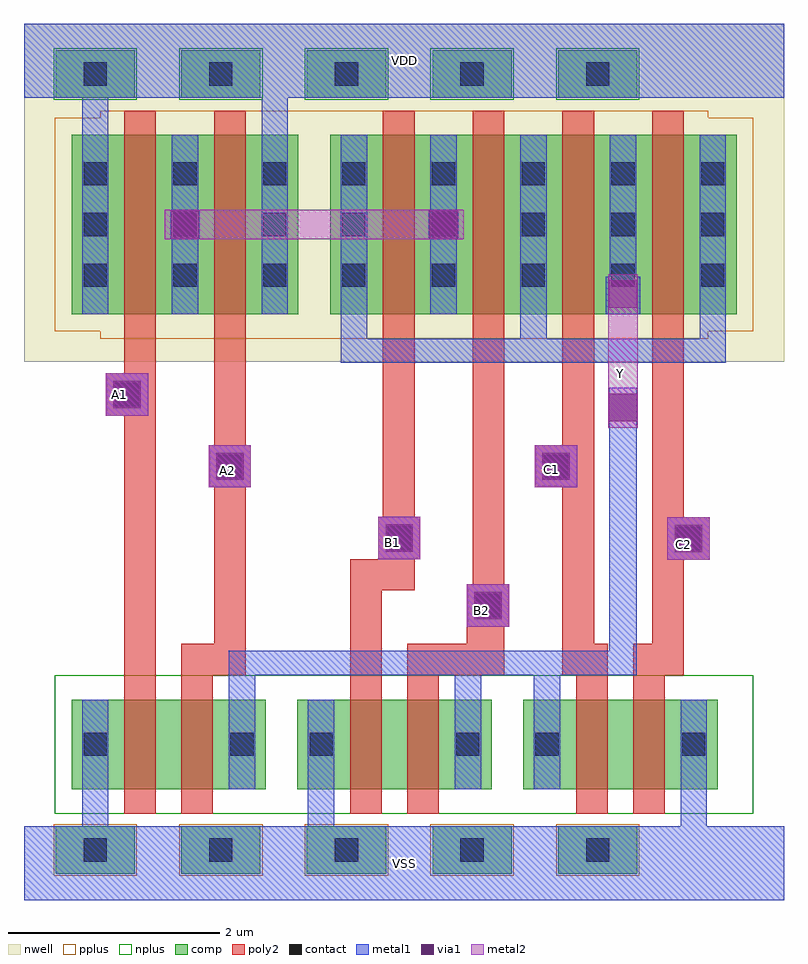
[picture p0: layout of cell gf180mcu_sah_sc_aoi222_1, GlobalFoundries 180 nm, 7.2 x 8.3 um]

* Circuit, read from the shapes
.subckt gf180mcu_sah_sc_aoi222_1 A1 A2 B1 B2 C1 C2 VDD VSS Y
XM1 n1 A1 VSS VSS nfet_03v3 w=0.85u l=0.3u
XM2 Y A2 n1 VSS nfet_03v3 w=0.85u l=0.3u
XM3 n2 B1 VSS VSS nfet_03v3 w=0.85u l=0.3u
XM4 Y B2 n2 VSS nfet_03v3 w=0.85u l=0.3u
XM5 n3 C1 Y VSS nfet_03v3 w=0.85u l=0.3u
XM6 VSS C2 n3 VSS nfet_03v3 w=0.85u l=0.3u
XM7 n4 A1 VDD VDD pfet_03v3 w=1.7u l=0.3u
XM8 VDD A2 n4 VDD pfet_03v3 w=1.7u l=0.3u
XM9 n4 B1 n5 VDD pfet_03v3 w=1.7u l=0.3u
XM10 n5 B2 n4 VDD pfet_03v3 w=1.7u l=0.3u
XM11 Y C1 n5 VDD pfet_03v3 w=1.7u l=0.3u
XM12 n5 C2 Y VDD pfet_03v3 w=1.7u l=0.3u
.ends

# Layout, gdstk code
import gdstk
lib = gdstk.Library(unit=1e-6, precision=5e-09)
def R(c, l, rs):  # rectangles x0, y0, x1, y1
    for r in rs: c.add(gdstk.rectangle(r[:2], r[2:], *l))
def A(c, l, x, y, w, h, nx, ny, dx, dy):  # array of equal rectangles
    R(c, l, [(x+i*dx, y+j*dy, x+i*dx+w, y+j*dy+h) for i in range(nx) for j in range(ny)])
nwell = (21, 0)
comp = (22, 0)
poly2 = (30, 0)
pplus = (31, 0)
nplus = (32, 0)
contact = (33, 0)
metal1 = (34, 0)
via1 = (35, 0)
metal2 = (36, 0)

gf180mcu_sah_sc_aoi222_1 = lib.new_cell('gf180mcu_sah_sc_aoi222_1')
R(gf180mcu_sah_sc_aoi222_1, nwell, [(-17.59,7.34,-10.39,10.54)])
A(gf180mcu_sah_sc_aoi222_1, comp, -17.29, 2.49, 0.75, 0.45, 5, 2, 1.19, 7.35)
A(gf180mcu_sah_sc_aoi222_1, comp, -17.14, 3.29, 1.84, 0.85, 3, 1, 2.14, 0)
R(gf180mcu_sah_sc_aoi222_1, comp, [(-17.14,7.79,-14.99,9.49), (-14.69,7.79,-10.84,9.49)])
A(gf180mcu_sah_sc_aoi222_1, poly2, -13.34, 4.37, 0.3, 3.19, 3, 1, 0.85, 0)
A(gf180mcu_sah_sc_aoi222_1, poly2, -14.19, 7.56, 0.3, 2.16, 4, 1, 0.85, 0)
R(gf180mcu_sah_sc_aoi222_1, poly2, [(-16.64,3.06,-16.34,4.37), (-16.1,3.06,-15.8,4.37), (-14.5,3.06,-14.2,4.37), (-13.96,3.06,-13.66,4.37), (-12.36,3.06,-12.06,4.37), (-11.82,3.06,-11.52,4.37), (-16.64,4.37,-16.34,7.56), (-16.1,4.37,-15.79,4.67), (-15.79,4.37,-15.49,7.56), (-14.5,4.37,-14.2,5.47), (-13.96,4.37,-13.34,4.67), (-12.19,4.37,-12.06,4.67), (-11.82,4.37,-11.64,4.67), (-13.395,4.67,-13.34,4.83), (-13.395,4.83,-12.995,5.23), (-14.2,5.175,-14.19,5.47), (-14.19,5.175,-13.89,7.56), (-11.495,5.465,-11.095,5.865), (-14.235,5.47,-13.835,5.87), (-15.84,6.15,-15.44,6.55), (-12.75,6.15,-12.35,6.55), (-16.815,6.83,-16.415,7.23), (-16.64,7.56,-16.34,9.72), (-15.79,7.56,-15.49,9.72)])
A(gf180mcu_sah_sc_aoi222_1, pplus, -17.31, 2.47, 0.79, 0.49, 5, 1, 1.19, 0)
R(gf180mcu_sah_sc_aoi222_1, pplus, [(-16.87,7.56,-11.11,7.63), (-17.3,7.63,-10.68,9.65), (-16.87,9.65,-11.11,9.72)])
A(gf180mcu_sah_sc_aoi222_1, nplus, -17.31, 9.82, 0.79, 0.49, 5, 1, 1.19, 0)
R(gf180mcu_sah_sc_aoi222_1, nplus, [(-17.3,3.06,-10.68,4.37)])
A(gf180mcu_sah_sc_aoi222_1, contact, -17.025, 2.605, 0.22, 0.22, 5, 2, 1.19, 7.35)
A(gf180mcu_sah_sc_aoi222_1, contact, -17.025, 8.05, 0.22, 0.22, 3, 3, 0.85, 0.48)
A(gf180mcu_sah_sc_aoi222_1, contact, -14.575, 8.05, 0.22, 0.22, 5, 3, 0.85, 0.48)
R(gf180mcu_sah_sc_aoi222_1, contact, [(-17.025,3.605,-16.805,3.825), (-15.635,3.605,-15.415,3.825), (-14.885,3.605,-14.665,3.825), (-13.495,3.605,-13.275,3.825), (-12.745,3.605,-12.525,3.825), (-11.355,3.605,-11.135,3.825), (-13.305,4.92,-13.085,5.14), (-11.405,5.555,-11.185,5.775), (-14.145,5.56,-13.925,5.78), (-15.75,6.24,-15.53,6.46), (-12.66,6.24,-12.44,6.46), (-16.725,6.92,-16.505,7.14)])
A(gf180mcu_sah_sc_aoi222_1, metal1, -14.59, 7.56, 0.25, 0.23, 3, 1, 1.7, 0)
A(gf180mcu_sah_sc_aoi222_1, metal1, -17.04, 7.79, 0.25, 1.7, 3, 1, 0.85, 0)
A(gf180mcu_sah_sc_aoi222_1, metal1, -14.59, 7.79, 0.25, 1.7, 5, 1, 0.85, 0)
R(gf180mcu_sah_sc_aoi222_1, metal1, [(-17.59,2.24,-10.39,2.94), (-17.04,2.94,-16.79,3.29), (-14.9,2.94,-14.65,3.29), (-11.37,2.94,-11.12,3.29), (-17.04,3.29,-16.79,4.14), (-15.65,3.29,-15.4,4.14), (-14.9,3.29,-14.65,4.14), (-13.51,3.29,-13.26,4.14), (-12.76,3.29,-12.51,4.14), (-11.37,3.29,-11.12,4.14), (-15.65,4.14,-15.4,4.37), (-13.51,4.14,-13.26,4.37), (-12.76,4.14,-12.51,4.37), (-15.65,4.37,-12.045,4.6), (-12.045,4.37,-11.785,7.095), (-13.395,4.83,-12.995,5.23), (-11.495,5.465,-11.095,5.865), (-14.235,5.47,-13.835,5.87), (-15.84,6.15,-15.44,6.55), (-12.75,6.15,-12.35,6.55), (-16.815,6.83,-16.415,7.23), (-14.59,7.33,-10.94,7.56), (-12.08,7.79,-11.75,8.145), (-16.205,8.5,-15.925,8.78), (-13.755,8.5,-13.475,8.78), (-17.04,9.49,-16.79,9.84), (-15.34,9.49,-15.09,9.84), (-17.59,9.84,-10.39,10.54)])
R(gf180mcu_sah_sc_aoi222_1, via1, [(-13.325,4.9,-13.065,5.16), (-11.425,5.535,-11.165,5.795), (-14.165,5.54,-13.905,5.8), (-15.77,6.22,-15.51,6.48), (-12.68,6.22,-12.42,6.48), (-12.045,6.775,-11.785,7.035), (-16.745,6.9,-16.485,7.16), (-12.045,7.85,-11.785,8.11), (-16.195,8.51,-15.935,8.77), (-13.745,8.51,-13.485,8.77)])
R(gf180mcu_sah_sc_aoi222_1, metal2, [(-13.395,4.83,-12.995,5.23), (-11.495,5.465,-11.095,5.865), (-14.235,5.47,-13.835,5.87), (-15.84,6.15,-15.44,6.55), (-12.75,6.15,-12.35,6.55), (-12.055,6.715,-11.775,8.17), (-16.815,6.83,-16.415,7.23), (-16.255,8.5,-13.425,8.78)])
gf180mcu_sah_sc_aoi222_1.add(gdstk.Label('VSS', (-13.99,2.59), layer=34, texttype=10))
gf180mcu_sah_sc_aoi222_1.add(gdstk.Label('VDD', (-13.99,10.19), layer=34, texttype=10))
gf180mcu_sah_sc_aoi222_1.add(gdstk.Label('Y', (-11.94,7.23), layer=36, texttype=10))
gf180mcu_sah_sc_aoi222_1.add(gdstk.Label('A1', (-16.685,7.025), layer=36, texttype=10))
gf180mcu_sah_sc_aoi222_1.add(gdstk.Label('A2', (-15.665,6.305), layer=36, texttype=10))
gf180mcu_sah_sc_aoi222_1.add(gdstk.Label('B1', (-14.1,5.625), layer=36, texttype=10))
gf180mcu_sah_sc_aoi222_1.add(gdstk.Label('B2', (-13.26,4.98), layer=36, texttype=10))
gf180mcu_sah_sc_aoi222_1.add(gdstk.Label('C2', (-11.34,5.605), layer=36, texttype=10))
gf180mcu_sah_sc_aoi222_1.add(gdstk.Label('C1', (-12.595,6.315), layer=36, texttype=10))

lib.write_gds('gf180mcu_sah_sc_aoi222_1.gds')
